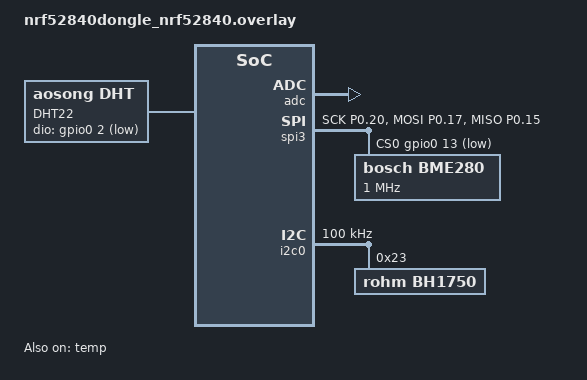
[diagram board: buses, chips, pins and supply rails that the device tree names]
// To get started, press Ctrl+Space to bring up the completion menu and view the available nodes.
// For more help, browse the DeviceTree documentation at https://docs.zephyrproject.org/latest/guides/dts/index.html

/ { 
    aliases {
    adcctrl = &adc;
    ardspi = &spi3;
    watchdog = &wdt;
    button0 = &button0;
    led0 = &led0_green;
};

dht22 {
    compatible = "aosong,dht";
    status = "okay";
    label = "DHT22";
    dio-gpios = <&gpio0 2 (GPIO_PULL_UP | GPIO_ACTIVE_LOW)>;
    dht22;
};

};

&adc {
    status = "okay";
};

&spi3 {
    compatible = "nordic,nrf-spim";
    status = "okay";
    cs-gpios = <&gpio0 13 GPIO_ACTIVE_LOW>; /* P0.13 */
    pinctrl-0 = <&spi3_default>;
    pinctrl-1 = <&spi3_sleep>;
    pinctrl-names = "default", "sleep";
    bme280@0 {
        compatible = "bosch,bme280";
        reg = <0>;
        spi-max-frequency = <1000000>; /* conservatively set to 1MHz */
    };
};

&uart0 {
    status = "disabled";
};

&i2c0 {
    compatible = "nordic,nrf-twi";
    status = "okay";
    clock-frequency = < I2C_BITRATE_STANDARD >;
    bh1750: bh1750@23 {
        compatible = "rohm,bh1750";
        reg = <0x23>;
    };
};

&pinctrl {
    spi3_default: spi3_default {
        group1 {
            psels = <NRF_PSEL(SPIM_SCK, 0, 20)>,
                    <NRF_PSEL(SPIM_MOSI, 0, 17)>,
                    <NRF_PSEL(SPIM_MISO, 0, 15)>;
        };
    };
    spi3_sleep: spi3_sleep {
        group1 {
            psels = <NRF_PSEL(SPIM_SCK, 0, 20)>,
                    <NRF_PSEL(SPIM_MOSI, 0, 17)>,
                    <NRF_PSEL(SPIM_MISO, 0, 15)>;
        };
    };
};

&temp {
    status = "okay";
};

&i2c0_default {
    group1 {
        psels = <NRF_PSEL(TWIM_SDA, 0, 9)>, <NRF_PSEL(TWIM_SCL, 0, 10)>;
    };
};
